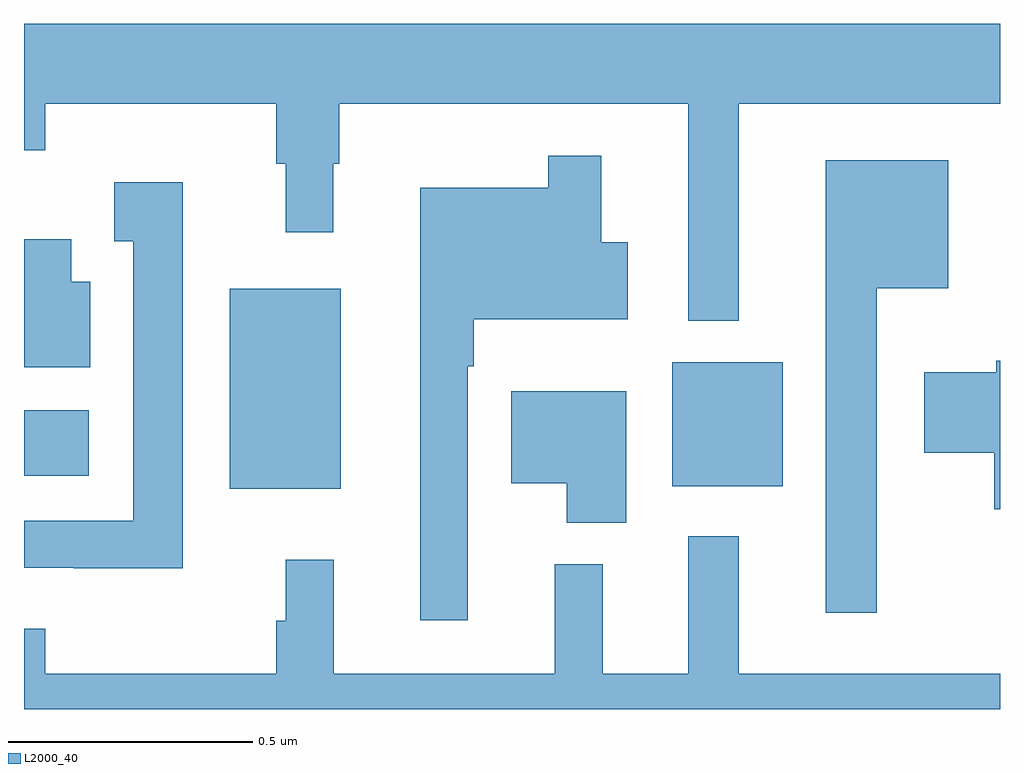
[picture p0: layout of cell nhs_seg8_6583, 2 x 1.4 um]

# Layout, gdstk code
import gdstk
lib = gdstk.Library(unit=1e-6, precision=1e-09)
def R(c, l, rs):  # rectangles x0, y0, x1, y1
    for r in rs: c.add(gdstk.rectangle(r[:2], r[2:], *l))
def P(c, l, *ps):  # polygons
    for p in ps: c.add(gdstk.Polygon(p, *l))
L2000_40 = (2000, 40)

nhs_seg8_6583 = lib.new_cell('nhs_seg8_6583')
R(nhs_seg8_6583, L2000_40, [(198.422,1142.351,198.649,1142.761), (199.328,1142.357,199.555,1142.611), (198,1142.378,198.133,1142.512)])
P(nhs_seg8_6583, L2000_40, [(199.465,1143.14),(200,1143.14),(200,1143.304),(198,1143.304),(198,1143.045),(198.044,1143.045),(198.044,1143.14),(198.517,1143.14),(198.517,1143.017),(198.536,1143.017),(198.536,1142.877),(198.634,1142.877),(198.634,1143.017),(198.646,1143.017),(198.646,1143.14),(199.361,1143.14),(199.361,1142.696),(199.465,1142.696)],
  [(198.909,1142.603),(198.922,1142.603),(198.922,1142.699),(199.237,1142.699),(199.237,1142.857),(199.183,1142.857),(199.183,1143.034),(199.074,1143.034),(199.074,1142.968),(198.812,1142.968),(198.812,1142.082),(198.909,1142.082)],
  [(199.747,1142.762),(199.894,1142.762),(199.894,1143.025),(199.643,1143.025),(199.643,1142.097),(199.747,1142.097)],
  [(198.325,1142.98),(198.185,1142.98),(198.185,1142.859),(198.224,1142.859),(198.224,1142.286),(198,1142.286),(198,1142.19),(198.102,1142.19),(198.102,1142.189),(198.325,1142.189)],
  [(198.136,1142.776),(198.097,1142.776),(198.097,1142.863),(198,1142.863),(198,1142.6),(198.136,1142.6)],
  [(200,1142.614),(199.992,1142.614),(199.992,1142.59),(199.845,1142.59),(199.845,1142.425),(199.988,1142.425),(199.988,1142.309),(200,1142.309)],
  [(199.234,1142.551),(198.998,1142.551),(198.998,1142.363),(199.112,1142.363),(199.112,1142.282),(199.234,1142.282)],
  [(200,1141.972),(199.465,1141.972),(199.465,1142.254),(199.361,1142.254),(199.361,1141.972),(199.186,1141.972),(199.186,1142.197),(199.088,1142.197),(199.088,1141.972),(198.635,1141.972),(198.635,1142.206),(198.536,1142.206),(198.536,1142.081),(198.517,1142.081),(198.517,1141.972),(198.044,1141.972),(198.044,1142.065),(198,1142.065),(198,1141.9),(200,1141.9)])

lib.write_gds('nhs_seg8_6583.gds')
